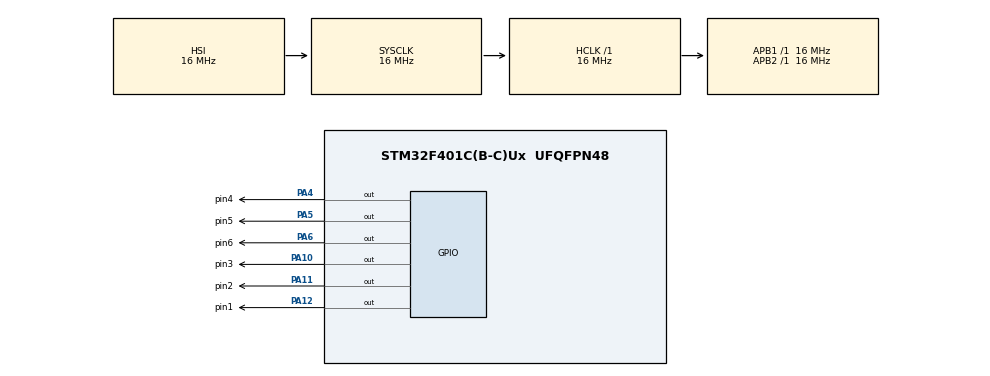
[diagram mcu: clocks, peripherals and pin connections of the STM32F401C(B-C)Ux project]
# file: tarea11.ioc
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Mcu.Family=STM32F4
Mcu.Name=STM32F401C(B-C)Ux
Mcu.Package=UFQFPN48
NVIC.PriorityGroup=NVIC_PRIORITYGROUP_4
PA10.GPIO_Label=pin3
PA10.Signal=GPIO_Output
PA11.GPIO_Label=pin2
PA11.Signal=GPIO_Output
PA12.GPIO_Label=pin1
PA12.Signal=GPIO_Output
PA4.GPIO_Label=pin4
PA4.Signal=GPIO_Output
PA5.GPIO_Label=pin5
PA5.Signal=GPIO_Output
PA6.GPIO_Label=pin6
PA6.Signal=GPIO_Output
ProjectManager.HeapSize=0x200
ProjectManager.StackSize=0x400
ProjectManager.TargetToolchain=CMake
RCC.AHBFreq_Value=16000000
RCC.APB1Freq_Value=16000000
RCC.APB2Freq_Value=16000000
RCC.CortexFreq_Value=16000000
RCC.HSE_VALUE=25000000
RCC.HSI_VALUE=16000000
RCC.LSE_VALUE=32768
RCC.SYSCLKFreq_VALUE=16000000
RCC.VCOOutputFreq_Value=192000000
board=custom

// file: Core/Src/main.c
/* USER CODE BEGIN Header */
/**
  ******************************************************************************
  * @file           : main.c
  * @brief          : Main program body
  ******************************************************************************
  * @attention
  *
  * Copyright (c) 2026 STMicroelectronics.
  * All rights reserved.
  *
  * This software is licensed under terms that can be found in the LICENSE file
  * in the root directory of this software component.
  * If no LICENSE file comes with this software, it is provided AS-IS.
  *
  ******************************************************************************
  */
/* USER CODE END Header */
#include "main.h"

void SystemClock_Config(void);
static void MX_GPIO_Init(void);

int main(void)
{

  /* MCU Configuration--------------------------------------------------------*/

  /* Reset of all peripherals, Initializes the Flash interface and the Systick. */
  HAL_Init();

  /* Configure the system clock */
  SystemClock_Config();

  /* Initialize all configured peripherals */
  MX_GPIO_Init();

  /* Infinite loop */
  /* USER CODE BEGIN WHILE */
  while (1)
  {
    //esperar 3 segundos
    HAL_Delay(3000);

    //encender enables
    HAL_GPIO_WritePin(GPIOA, pin3_Pin, GPIO_PIN_SET);
    HAL_GPIO_WritePin(GPIOA, pin6_Pin, GPIO_PIN_SET);

    //mover hacia delante 1 segundo
    HAL_GPIO_WritePin(GPIOA, pin1_Pin, GPIO_PIN_RESET);
    HAL_GPIO_WritePin(GPIOA, pin2_Pin, GPIO_PIN_SET);
    HAL_GPIO_WritePin(GPIOA, pin4_Pin, GPIO_PIN_SET);
    HAL_GPIO_WritePin(GPIOA, pin5_Pin, GPIO_PIN_RESET);
    HAL_Delay(1000);

    //girar hacia la izquierda 400milisegundo
    HAL_GPIO_WritePin(GPIOA, pin1_Pin, GPIO_PIN_SET);
    HAL_GPIO_WritePin(GPIOA, pin2_Pin, GPIO_PIN_RESET);
    HAL_GPIO_WritePin(GPIOA, pin4_Pin, GPIO_PIN_SET);
    HAL_GPIO_WritePin(GPIOA, pin5_Pin, GPIO_PIN_RESET);
    HAL_Delay(400);

    //mover hacia atras 3 segundos
    HAL_GPIO_WritePin(GPIOA, pin1_Pin, GPIO_PIN_SET);
    HAL_GPIO_WritePin(GPIOA, pin2_Pin, GPIO_PIN_RESET);
    HAL_GPIO_WritePin(GPIOA, pin4_Pin, GPIO_PIN_RESET);
    HAL_GPIO_WritePin(GPIOA, pin5_Pin, GPIO_PIN_SET);
    HAL_Delay(3000);

    //girar hacia la derecha 400milisegundo
    HAL_GPIO_WritePin(GPIOA, pin1_Pin, GPIO_PIN_RESET);
    HAL_GPIO_WritePin(GPIOA, pin2_Pin, GPIO_PIN_SET);
    HAL_GPIO_WritePin(GPIOA, pin4_Pin, GPIO_PIN_RESET);
    HAL_GPIO_WritePin(GPIOA, pin5_Pin, GPIO_PIN_SET);
    HAL_Delay(400);

    //DETENER AL FINAL
    HAL_GPIO_WritePin(GPIOA, pin3_Pin, GPIO_PIN_RESET);
    HAL_GPIO_WritePin(GPIOA, pin6_Pin, GPIO_PIN_RESET);

    /* USER CODE END WHILE */

  }
}

void SystemClock_Config(void)
{
  RCC_OscInitTypeDef RCC_OscInitStruct = {0};
  RCC_ClkInitTypeDef RCC_ClkInitStruct = {0};

  /** Configure the main internal regulator output voltage
  */
  __HAL_RCC_PWR_CLK_ENABLE();
  __HAL_PWR_VOLTAGESCALING_CONFIG(PWR_REGULATOR_VOLTAGE_SCALE2);

  /** Initializes the RCC Oscillators according to the specified parameters
  * in the RCC_OscInitTypeDef structure.
  */
  RCC_OscInitStruct.OscillatorType = RCC_OSCILLATORTYPE_HSI;
  RCC_OscInitStruct.HSIState = RCC_HSI_ON;
  RCC_OscInitStruct.HSICalibrationValue = RCC_HSICALIBRATION_DEFAULT;
  RCC_OscInitStruct.PLL.PLLState = RCC_PLL_NONE;
  if (HAL_RCC_OscConfig(&RCC_OscInitStruct) != HAL_OK)
  {
    Error_Handler();
  }

  /** Initializes the CPU, AHB and APB buses clocks
  */
  RCC_ClkInitStruct.ClockType = RCC_CLOCKTYPE_HCLK|RCC_CLOCKTYPE_SYSCLK
                              |RCC_CLOCKTYPE_PCLK1|RCC_CLOCKTYPE_PCLK2;
  RCC_ClkInitStruct.SYSCLKSource = RCC_SYSCLKSOURCE_HSI;
  RCC_ClkInitStruct.AHBCLKDivider = RCC_SYSCLK_DIV1;
  RCC_ClkInitStruct.APB1CLKDivider = RCC_HCLK_DIV1;
  RCC_ClkInitStruct.APB2CLKDivider = RCC_HCLK_DIV1;

  if (HAL_RCC_ClockConfig(&RCC_ClkInitStruct, FLASH_LATENCY_0) != HAL_OK)
  {
    Error_Handler();
  }
}

static void MX_GPIO_Init(void)
{
  GPIO_InitTypeDef GPIO_InitStruct = {0};

  /* GPIO Ports Clock Enable */
  __HAL_RCC_GPIOA_CLK_ENABLE();

  /*Configure GPIO pin Output Level */
  HAL_GPIO_WritePin(GPIOA, pin4_Pin|pin5_Pin|pin6_Pin|pin3_Pin
                          |pin2_Pin|pin1_Pin, GPIO_PIN_RESET);

  /*Configure GPIO pins : pin4_Pin pin5_Pin pin6_Pin pin3_Pin
                           pin2_Pin pin1_Pin */
  GPIO_InitStruct.Pin = pin4_Pin|pin5_Pin|pin6_Pin|pin3_Pin
                          |pin2_Pin|pin1_Pin;
  GPIO_InitStruct.Mode = GPIO_MODE_OUTPUT_PP;
  GPIO_InitStruct.Pull = GPIO_NOPULL;
  GPIO_InitStruct.Speed = GPIO_SPEED_FREQ_LOW;
  HAL_GPIO_Init(GPIOA, &GPIO_InitStruct);

}

void Error_Handler(void)
{
  __disable_irq();
  while (1)
  {
  }
}
